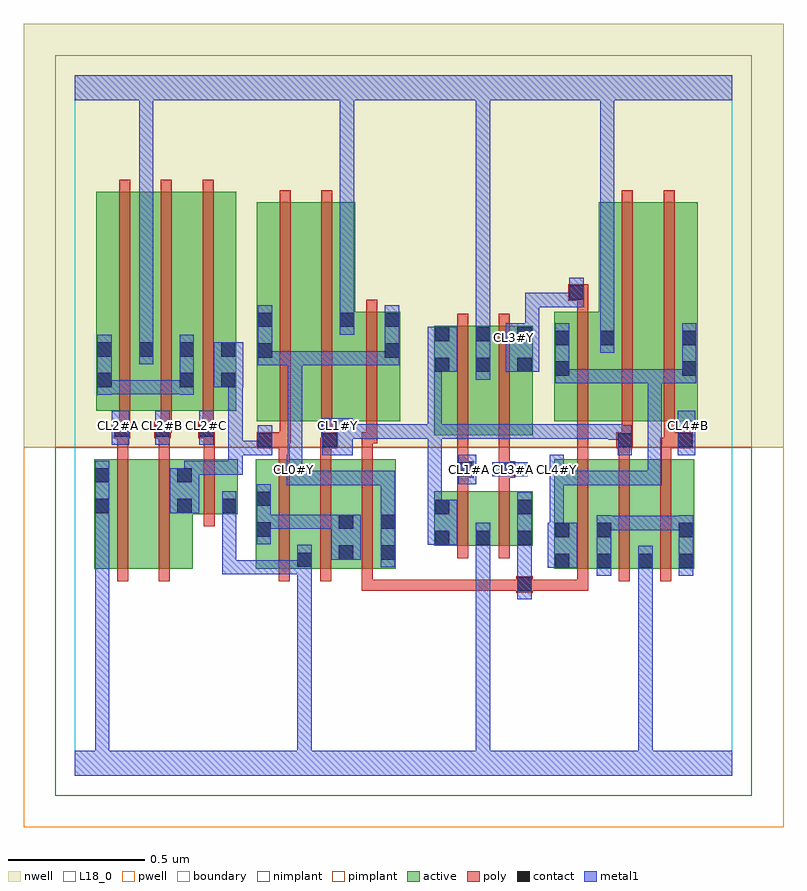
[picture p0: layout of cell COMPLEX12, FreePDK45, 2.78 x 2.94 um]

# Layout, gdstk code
import gdstk
lib = gdstk.Library(unit=1e-6, precision=1e-09)
def R(c, l, rs):  # rectangles x0, y0, x1, y1
    for r in rs: c.add(gdstk.rectangle(r[:2], r[2:], *l))
def A(c, l, x, y, w, h, nx, ny, dx, dy):  # array of equal rectangles
    R(c, l, [(x+i*dx, y+j*dy, x+i*dx+w, y+j*dy+h) for i in range(nx) for j in range(ny)])
active = (1, 0)
pwell = (2, 0)
nwell = (3, 0)
nimplant = (4, 0)
pimplant = (5, 0)
poly = (9, 0)
contact = (10, 0)
metal1 = (11, 0)
L18_0 = (18, 0)
boundary = (235, 0)

complex12 = lib.new_cell('COMPLEX12')
A(complex12, active, 0.808, 0.756, 0.06, 0.4, 3, 1, 0.152, 0)
A(complex12, active, 1.75, 0.756, 0.06, 0.4, 3, 1, 0.152, 0)
R(complex12, active, [(0.07,0.756,0.13,1.156), (0.07,0.756,0.25,1.156), (0.25,0.756,0.43,1.156), (0.37,0.756,0.43,1.156), (0.66,0.756,0.72,1.156), (0.66,0.756,0.868,1.156), (0.808,0.756,1.02,1.156), (0.96,0.756,1.172,1.156), (1.75,0.756,1.962,1.156), (1.902,0.756,2.114,1.156), (2.054,0.756,2.262,1.156), (2.202,0.756,2.262,1.156), (1.312,0.84,1.372,1.04), (1.312,0.84,1.52,1.04), (1.46,0.84,1.52,1.04), (1.46,0.84,1.672,1.04), (1.612,0.84,1.672,1.04), (0.37,0.956,0.594,1.156), (0.534,0.956,0.594,1.156), (1.312,1.244,1.372,1.644), (1.312,1.244,1.52,1.644), (1.46,1.244,1.672,1.644), (1.612,1.244,1.672,1.644), (0.664,1.296,0.844,2.096), (0.664,1.296,0.724,2.096), (0.844,1.296,1.024,2.096), (0.964,1.296,1.188,1.696), (1.128,1.296,1.188,1.696), (1.75,1.296,1.81,1.696), (1.75,1.296,1.974,1.696), (1.914,1.296,2.094,2.096), (2.094,1.296,2.274,2.096), (2.214,1.296,2.274,2.044), (0.964,1.31,1.024,2.096), (0.078,1.334,0.138,2.044), (0.078,1.334,0.29,2.134), (0.23,1.334,0.29,2.134), (0.23,1.334,0.438,2.134), (0.378,1.334,0.438,2.044), (0.378,1.334,0.59,2.134), (0.53,1.334,0.59,2.044), (1.46,1.366,1.52,1.644), (1.914,1.476,1.974,2.096)])
R(complex12, pwell, [(-0.188,-0.188,2.588,1.2)])
R(complex12, nwell, [(-0.188,1.2,2.588,2.748)])
R(complex12, nimplant, [(-0.072,-0.072,2.472,1.2)])
R(complex12, pimplant, [(-0.072,1.2,2.472,2.632)])
A(complex12, poly, 1.42, 0.676, 0.04, 0.04, 3, 1, 0.106, 0)
A(complex12, poly, 0.744, 0.712, 0.04, 0.488, 3, 1, 0.152, 0)
A(complex12, poly, 1.834, 0.712, 0.04, 0.488, 3, 1, 0.152, 0)
A(complex12, poly, 1.834, 1.16, 0.04, 0.076, 3, 1, 0.152, 0)
A(complex12, poly, 0.162, 1.254, 0.04, 0.076, 3, 1, 0.152, 0)
A(complex12, poly, 0.162, 1.29, 0.04, 0.888, 3, 1, 0.152, 0)
R(complex12, poly, [(1.612,0.67,1.672,0.73), (1.048,0.676,1.088,0.752), (1.048,0.676,1.088,0.716), (1.048,0.676,1.088,0.716), (1.048,0.676,1.088,0.716), (1.048,0.676,1.46,0.716), (1.42,0.676,1.46,0.716), (1.42,0.676,1.46,0.716), (1.42,0.676,1.566,0.716), (1.526,0.676,1.652,0.716), (1.632,0.676,1.672,0.716), (1.632,0.676,1.874,0.716), (1.834,0.676,1.874,0.752), (1.834,0.676,1.874,0.716), (1.834,0.676,1.874,0.716), (1.834,0.676,1.874,0.716), (0.154,0.712,0.194,1.2), (0.306,0.712,0.346,1.2), (1.396,0.796,1.436,1.084), (1.548,0.796,1.588,1.084), (0.47,0.912,0.51,1.2), (1.396,1.044,1.436,1.13), (1.548,1.044,1.588,1.13), (1.396,1.09,1.456,1.15), (1.548,1.09,1.608,1.15), (1.396,1.11,1.436,1.15), (1.396,1.11,1.436,1.15), (1.396,1.11,1.436,1.24), (1.548,1.11,1.588,1.15), (1.548,1.11,1.588,1.15), (1.548,1.11,1.588,1.24), (0.154,1.16,0.194,1.274), (0.306,1.16,0.346,1.274), (0.47,1.16,0.51,1.274), (0.744,1.16,0.784,1.236), (0.896,1.16,0.936,1.236), (1.048,1.16,1.088,1.256), (0.664,1.196,0.784,1.256), (0.896,1.196,0.94,1.236), (0.9,1.196,0.94,1.236), (0.9,1.196,0.96,1.256), (1.834,1.196,1.874,1.236), (1.834,1.196,1.874,1.236), (1.834,1.196,1.874,1.236), (1.834,1.196,1.874,1.292), (1.978,1.196,2.038,1.256), (1.986,1.196,2.026,1.236), (1.986,1.196,2.026,1.236), (2.138,1.196,2.19,1.236), (2.15,1.196,2.19,1.236), (2.15,1.196,2.258,1.256), (1.396,1.2,1.436,1.688), (1.548,1.2,1.588,1.688), (0.744,1.216,0.784,1.256), (0.744,1.216,0.788,1.256), (0.748,1.216,0.788,1.292), (0.9,1.216,0.94,1.292), (1.048,1.216,1.088,1.256), (1.048,1.216,1.088,1.256), (1.048,1.216,1.104,1.256), (1.064,1.216,1.104,1.292), (1.998,1.216,2.038,1.292), (2.15,1.216,2.19,1.292), (0.142,1.234,0.202,1.294), (0.154,1.234,0.194,1.274), (0.154,1.234,0.194,1.274), (0.29,1.234,0.35,1.294), (0.45,1.234,0.51,1.294), (0.47,1.234,0.51,1.274), (0.47,1.234,0.51,1.274), (0.748,1.252,0.788,2.14), (0.9,1.252,0.94,2.14), (1.064,1.252,1.104,1.74), (1.834,1.252,1.874,1.74), (1.998,1.252,2.038,2.14), (2.15,1.252,2.19,2.14), (0.31,1.254,0.35,1.294), (0.31,1.254,0.354,1.294), (1.834,1.7,1.874,1.776), (1.802,1.736,1.874,1.796)])
A(complex12, contact, 1.754, 0.76, 0.052, 0.052, 3, 1, 0.152, 0)
R(complex12, contact, [(1.616,0.674,1.668,0.726), (2.206,0.76,2.258,0.812), (0.812,0.764,0.864,0.816), (0.964,0.79,1.016,0.842), (1.116,0.79,1.168,0.842), (1.316,0.844,1.368,0.896), (1.464,0.844,1.516,0.896), (1.616,0.844,1.668,0.896), (1.754,0.872,1.806,0.924), (1.906,0.872,1.958,0.924), (2.206,0.872,2.258,0.924), (0.664,0.874,0.716,0.926), (0.964,0.902,1.016,0.954), (1.116,0.902,1.168,0.954), (1.316,0.956,1.368,1.008), (1.616,0.956,1.668,1.008), (0.074,0.96,0.126,1.012), (0.374,0.96,0.426,1.012), (0.538,0.96,0.59,1.012), (0.664,0.986,0.716,1.038), (0.074,1.072,0.126,1.124), (0.374,1.072,0.426,1.124), (1.4,1.094,1.452,1.146), (1.552,1.094,1.604,1.146), (0.668,1.2,0.72,1.252), (0.904,1.2,0.956,1.252), (1.982,1.2,2.034,1.252), (2.202,1.2,2.254,1.252), (0.146,1.238,0.198,1.29), (0.294,1.238,0.346,1.29), (0.454,1.238,0.506,1.29), (0.082,1.42,0.134,1.472), (0.382,1.42,0.434,1.472), (0.534,1.42,0.586,1.472), (1.754,1.462,1.806,1.514), (2.218,1.462,2.27,1.514), (1.316,1.476,1.368,1.528), (1.464,1.476,1.516,1.528), (1.616,1.476,1.668,1.528), (0.668,1.528,0.72,1.58), (1.132,1.528,1.184,1.58), (0.082,1.532,0.134,1.584), (0.234,1.532,0.286,1.584), (0.382,1.532,0.434,1.584), (0.534,1.532,0.586,1.584), (1.754,1.574,1.806,1.626), (1.918,1.574,1.97,1.626), (2.218,1.574,2.27,1.626), (1.316,1.588,1.368,1.64), (1.464,1.588,1.516,1.64), (1.616,1.588,1.668,1.64), (0.668,1.64,0.72,1.692), (0.968,1.64,1.02,1.692), (1.132,1.64,1.184,1.692), (1.806,1.74,1.858,1.792)])
R(complex12, metal1, [(0,0,2.4,0.092), (0.074,0.04,0.126,0.092), (0.074,0.04,0.126,0.092), (0.074,0.04,0.126,0.092), (0.074,0.04,0.126,0.092), (0.074,0.04,0.126,0.092), (0.074,0.04,0.126,0.092), (0.074,0.04,0.126,0.092), (0.074,0.04,0.126,0.092), (0.074,0.04,0.126,0.984), (0.812,0.04,0.864,0.092), (0.812,0.04,0.864,0.092), (0.812,0.04,0.864,0.092), (0.812,0.04,0.864,0.092), (0.812,0.04,0.864,0.092), (0.812,0.04,0.864,0.092), (0.812,0.04,0.864,0.092), (0.812,0.04,0.864,0.092), (0.812,0.04,0.864,0.092), (0.812,0.04,0.864,0.092), (0.812,0.04,0.864,0.788), (1.464,0.04,1.516,0.092), (1.464,0.04,1.516,0.092), (1.464,0.04,1.516,0.092), (1.464,0.04,1.516,0.092), (1.464,0.04,1.516,0.092), (1.464,0.04,1.516,0.092), (1.464,0.04,1.516,0.092), (1.464,0.04,1.516,0.092), (1.464,0.04,1.516,0.092), (1.464,0.04,1.516,0.092), (1.464,0.04,1.516,0.868), (2.058,0.04,2.11,0.092), (2.058,0.04,2.11,0.092), (2.058,0.04,2.11,0.092), (2.058,0.04,2.11,0.092), (2.058,0.04,2.11,0.092), (2.058,0.04,2.11,0.092), (2.058,0.04,2.11,0.092), (2.058,0.04,2.11,0.092), (2.058,0.04,2.11,0.092), (2.058,0.04,2.11,0.092), (2.058,0.04,2.11,0.784), (1.616,0.646,1.668,0.754), (1.616,0.702,1.668,0.754), (1.616,0.702,1.668,0.754), (1.616,0.702,1.668,0.754), (1.616,0.702,1.668,0.754), (1.616,0.702,1.668,0.868), (1.906,0.732,1.958,0.952), (2.058,0.732,2.11,0.784), (2.058,0.732,2.11,0.784), (2.058,0.732,2.11,0.84), (2.206,0.732,2.258,0.952), (0.538,0.736,0.59,0.788), (0.538,0.736,0.616,0.788), (0.538,0.736,0.59,0.984), (0.564,0.736,0.616,0.788), (0.564,0.736,0.724,0.788), (0.672,0.736,0.724,0.788), (0.672,0.736,0.864,0.788), (0.812,0.736,0.864,0.788), (0.812,0.736,0.864,0.788), (0.812,0.736,0.864,0.844), (1.726,0.76,1.834,0.924), (1.116,0.762,1.168,0.982), (0.936,0.79,1.044,0.954), (1.464,0.816,1.516,0.868), (1.464,0.816,1.516,0.868), (1.464,0.816,1.516,0.868), (1.464,0.816,1.516,0.868), (1.464,0.816,1.516,0.868), (1.464,0.816,1.516,0.868), (1.464,0.816,1.516,0.924), (1.616,0.816,1.668,0.868), (1.616,0.816,1.668,0.868), (1.616,0.816,1.668,1.036), (1.288,0.844,1.396,1.008), (0.664,0.846,0.716,1.066), (1.734,0.872,1.786,1.114), (1.906,0.898,1.958,0.95), (1.906,0.898,1.958,0.95), (1.906,0.898,2.148,0.95), (2.096,0.898,2.148,0.95), (2.096,0.898,2.258,0.95), (2.206,0.898,2.258,0.95), (2.206,0.898,2.258,0.95), (0.664,0.902,0.846,0.954), (0.794,0.902,0.846,0.954), (0.794,0.902,0.846,0.954), (0.794,0.902,0.846,0.954), (0.794,0.902,0.988,0.954), (0.936,0.902,0.988,0.954), (0.936,0.902,0.988,0.954), (1.116,0.93,1.168,1.114), (0.074,0.932,0.126,0.984), (0.074,0.932,0.126,0.984), (0.074,0.932,0.126,0.984), (0.074,0.932,0.126,0.984), (0.074,0.932,0.126,1.152), (0.538,0.932,0.59,0.984), (0.538,0.932,0.59,0.984), (0.538,0.932,0.59,1.04), (1.288,0.956,1.34,1.008), (1.288,0.956,1.34,1.008), (1.288,0.956,1.34,1.284), (0.346,0.96,0.454,1.124), (0.774,1.062,0.83,1.174), (0.778,1.062,1.044,1.114), (0.992,1.062,1.044,1.114), (0.992,1.062,1.044,1.114), (0.992,1.062,1.044,1.114), (0.992,1.062,1.168,1.114), (1.116,1.062,1.168,1.114), (1.116,1.062,1.168,1.114), (1.116,1.062,1.168,1.114), (1.734,1.062,1.848,1.114), (1.734,1.062,1.786,1.174), (1.796,1.062,1.848,1.114), (1.796,1.062,2,1.114), (1.948,1.062,2,1.114), (1.948,1.062,2.144,1.114), (2.092,1.062,2.144,1.114), (2.092,1.062,2.144,1.114), (2.092,1.062,2.144,1.114), (2.092,1.062,2.144,1.486), (1.4,1.066,1.466,1.174), (0.4,1.072,0.452,1.152), (1.524,1.094,1.654,1.146), (0.4,1.1,0.452,1.152), (0.4,1.1,0.456,1.152), (0.404,1.1,0.456,1.152), (0.404,1.1,0.612,1.152), (0.56,1.1,0.612,1.224), (0.778,1.122,0.83,1.552), (0.56,1.172,0.612,1.224), (0.56,1.172,0.612,1.224), (0.56,1.172,0.616,1.224), (0.56,1.172,0.612,1.472), (0.564,1.172,0.616,1.224), (0.564,1.172,0.72,1.224), (0.668,1.172,0.72,1.28), (0.904,1.172,1.014,1.306), (1.982,1.172,2.034,1.28), (2.202,1.172,2.266,1.334), (0.134,1.21,0.198,1.334), (0.294,1.21,0.346,1.334), (0.454,1.21,0.506,1.334), (1.948,1.228,2.034,1.28), (1.948,1.228,2,1.284), (0.962,1.232,1.014,1.284), (0.962,1.232,1.014,1.284), (0.962,1.232,1.154,1.284), (1.102,1.232,1.154,1.284), (1.102,1.232,1.154,1.284), (1.102,1.232,1.154,1.284), (1.102,1.232,1.34,1.284), (1.288,1.232,1.34,1.284), (1.288,1.232,1.34,1.284), (1.288,1.232,1.34,1.284), (1.288,1.232,1.516,1.284), (1.288,1.232,1.34,1.528), (1.464,1.232,1.516,1.284), (1.464,1.232,1.626,1.284), (1.574,1.232,1.626,1.284), (1.574,1.232,1.626,1.284), (1.574,1.232,1.626,1.284), (1.574,1.232,1.848,1.284), (1.796,1.232,1.848,1.284), (1.796,1.232,1.848,1.284), (1.796,1.232,1.848,1.284), (1.796,1.232,2,1.284), (0.082,1.392,0.134,1.612), (0.382,1.392,0.434,1.612), (0.082,1.394,0.134,1.446), (0.082,1.394,0.134,1.446), (0.082,1.394,0.288,1.446), (0.236,1.394,0.288,1.446), (0.236,1.394,0.288,1.446), (0.236,1.394,0.288,1.446), (0.236,1.394,0.434,1.446), (0.506,1.42,0.614,1.584), (1.754,1.434,1.806,1.486), (1.754,1.434,1.806,1.486), (1.754,1.434,1.806,1.654), (1.754,1.434,2,1.486), (1.948,1.434,2,1.486), (1.948,1.434,2,1.486), (1.948,1.434,2,1.486), (1.948,1.434,2.144,1.486), (2.092,1.434,2.144,1.486), (2.092,1.434,2.144,1.486), (2.092,1.434,2.144,1.486), (2.092,1.434,2.27,1.486), (2.218,1.434,2.27,1.486), (2.218,1.434,2.27,1.486), (2.218,1.434,2.27,1.654), (1.464,1.448,1.516,1.668), (1.288,1.476,1.396,1.64), (1.574,1.476,1.696,1.654), (0.668,1.5,0.72,1.72), (0.668,1.5,0.83,1.552), (0.778,1.5,0.83,1.552), (0.778,1.5,0.83,1.552), (0.778,1.5,0.83,1.552), (0.778,1.5,0.83,1.552), (0.778,1.5,0.83,1.552), (0.778,1.5,0.956,1.552), (0.904,1.5,0.956,1.552), (0.904,1.5,0.956,1.552), (0.904,1.5,0.956,1.552), (0.904,1.5,1.184,1.552), (1.132,1.5,1.184,1.552), (1.132,1.5,1.184,1.552), (1.132,1.5,1.184,1.72), (0.234,1.504,0.286,1.612), (1.918,1.546,1.97,1.654), (0.234,1.56,0.286,1.612), (0.234,1.56,0.286,1.612), (0.234,1.56,0.286,1.612), (0.234,1.56,0.286,1.612), (0.234,1.56,0.286,2.52), (1.644,1.602,1.696,1.764), (1.918,1.602,1.97,2.52), (0.968,1.612,1.02,1.72), (1.464,1.616,1.516,1.668), (1.464,1.616,1.516,1.668), (1.464,1.616,1.516,1.668), (1.464,1.616,1.516,1.668), (1.464,1.616,1.516,2.52), (0.968,1.668,1.02,1.72), (0.968,1.668,1.02,1.72), (0.968,1.668,1.02,1.72), (0.968,1.668,1.02,1.72), (0.968,1.668,1.02,1.72), (0.968,1.668,1.02,1.72), (0.968,1.668,1.02,2.52), (1.644,1.712,1.696,1.764), (1.644,1.712,1.78,1.764), (1.728,1.712,1.78,1.764), (1.728,1.712,1.858,1.764), (1.806,1.712,1.858,1.82), (0,2.468,2.4,2.56), (0.234,2.468,0.286,2.52), (0.234,2.468,0.286,2.52), (0.234,2.468,0.286,2.52), (0.234,2.468,0.286,2.52), (0.968,2.468,1.02,2.52), (0.968,2.468,1.02,2.52), (1.464,2.468,1.516,2.52), (1.464,2.468,1.516,2.52), (1.464,2.468,1.516,2.52), (1.464,2.468,1.516,2.52), (1.464,2.468,1.516,2.52), (1.464,2.468,1.516,2.52), (1.464,2.468,1.516,2.52), (1.464,2.468,1.516,2.52), (1.464,2.468,1.516,2.52), (1.464,2.468,1.516,2.52), (1.464,2.468,1.516,2.52), (1.464,2.468,1.516,2.52), (1.918,2.468,1.97,2.52), (1.918,2.468,1.97,2.52), (1.918,2.468,1.97,2.52), (1.918,2.468,1.97,2.52), (1.918,2.468,1.97,2.52), (1.918,2.468,1.97,2.52), (1.918,2.468,1.97,2.52), (1.918,2.468,1.97,2.52)])
A(complex12, L18_0, 1.414, 1.094, 0.052, 0.052, 3, 1, 0.16, 0)
A(complex12, L18_0, 0.134, 1.254, 0.052, 0.052, 3, 1, 0.16, 0)
R(complex12, L18_0, [(0,0,2.4,0.092), (0.074,0.04,0.126,0.092), (0.074,0.04,0.126,0.092), (0.074,0.04,0.126,0.092), (0.074,0.04,0.126,0.092), (0.074,0.04,0.126,0.092), (0.074,0.04,0.126,0.092), (0.074,0.04,0.126,0.092), (0.074,0.04,0.126,0.092), (0.074,0.04,0.126,0.984), (0.812,0.04,0.864,0.092), (0.812,0.04,0.864,0.092), (0.812,0.04,0.864,0.092), (0.812,0.04,0.864,0.092), (0.812,0.04,0.864,0.092), (0.812,0.04,0.864,0.092), (0.812,0.04,0.864,0.092), (0.812,0.04,0.864,0.092), (0.812,0.04,0.864,0.092), (0.812,0.04,0.864,0.092), (0.812,0.04,0.864,0.788), (1.464,0.04,1.516,0.092), (1.464,0.04,1.516,0.092), (1.464,0.04,1.516,0.092), (1.464,0.04,1.516,0.092), (1.464,0.04,1.516,0.092), (1.464,0.04,1.516,0.092), (1.464,0.04,1.516,0.092), (1.464,0.04,1.516,0.092), (1.464,0.04,1.516,0.092), (1.464,0.04,1.516,0.092), (1.464,0.04,1.516,0.868), (2.058,0.04,2.11,0.092), (2.058,0.04,2.11,0.092), (2.058,0.04,2.11,0.092), (2.058,0.04,2.11,0.092), (2.058,0.04,2.11,0.092), (2.058,0.04,2.11,0.092), (2.058,0.04,2.11,0.092), (2.058,0.04,2.11,0.092), (2.058,0.04,2.11,0.092), (2.058,0.04,2.11,0.092), (2.058,0.04,2.11,0.784), (1.616,0.646,1.668,0.754), (1.616,0.702,1.668,0.754), (1.616,0.702,1.668,0.754), (1.616,0.702,1.668,0.754), (1.616,0.702,1.668,0.754), (1.616,0.702,1.668,0.868), (2.058,0.732,2.11,0.784), (2.058,0.732,2.11,0.784), (2.058,0.732,2.11,0.84), (0.538,0.736,0.59,0.788), (0.538,0.736,0.59,0.984), (0.538,0.736,0.616,0.788), (0.564,0.736,0.616,0.788), (0.564,0.736,0.724,0.788), (0.672,0.736,0.724,0.788), (0.672,0.736,0.864,0.788), (0.812,0.736,0.864,0.788), (0.812,0.736,0.864,0.788), (0.812,0.736,0.864,0.844), (1.726,0.76,1.834,0.924), (1.116,0.762,1.168,0.982), (1.464,0.816,1.516,0.868), (1.464,0.816,1.516,0.868), (1.464,0.816,1.516,0.868), (1.464,0.816,1.516,0.868), (1.464,0.816,1.516,0.868), (1.464,0.816,1.516,0.868), (1.464,0.816,1.516,0.924), (1.616,0.816,1.668,0.868), (1.616,0.816,1.668,0.868), (1.616,0.816,1.668,1.036), (1.288,0.844,1.396,1.008), (1.734,0.872,1.786,1.114), (1.116,0.93,1.168,1.114), (0.074,0.932,0.126,0.984), (0.074,0.932,0.126,0.984), (0.074,0.932,0.126,0.984), (0.074,0.932,0.126,0.984), (0.074,0.932,0.126,1.152), (0.538,0.932,0.59,0.984), (0.538,0.932,0.59,0.984), (0.538,0.932,0.59,1.04), (1.288,0.956,1.34,1.008), (1.288,0.956,1.34,1.008), (1.288,0.956,1.34,1.284), (0.774,1.062,0.83,1.174), (0.778,1.062,1.044,1.114), (0.992,1.062,1.044,1.114), (0.992,1.062,1.044,1.114), (0.992,1.062,1.044,1.114), (0.992,1.062,1.168,1.114), (1.116,1.062,1.168,1.114), (1.116,1.062,1.168,1.114), (1.116,1.062,1.168,1.114), (1.734,1.062,1.786,1.174), (1.734,1.062,1.848,1.114), (1.796,1.062,1.848,1.114), (1.796,1.062,2,1.114), (1.948,1.062,2,1.114), (1.948,1.062,2.144,1.114), (2.092,1.062,2.144,1.114), (2.092,1.062,2.144,1.114), (2.092,1.062,2.144,1.114), (2.092,1.062,2.144,1.486), (1.4,1.066,1.466,1.174), (0.774,1.094,0.826,1.146), (1.524,1.094,1.654,1.146), (0.778,1.122,0.83,1.552), (0.904,1.172,1.014,1.306), (1.982,1.172,2.034,1.28), (2.202,1.172,2.266,1.334), (0.134,1.21,0.198,1.334), (0.294,1.21,0.346,1.334), (0.454,1.21,0.506,1.334), (1.948,1.228,2,1.284), (1.948,1.228,2.034,1.28), (0.962,1.232,1.014,1.284), (0.962,1.232,1.014,1.284), (0.962,1.232,1.154,1.284), (1.102,1.232,1.154,1.284), (1.102,1.232,1.154,1.284), (1.102,1.232,1.154,1.284), (1.102,1.232,1.34,1.284), (1.288,1.232,1.34,1.284), (1.288,1.232,1.34,1.284), (1.288,1.232,1.34,1.284), (1.288,1.232,1.34,1.528), (1.288,1.232,1.516,1.284), (1.464,1.232,1.516,1.284), (1.464,1.232,1.626,1.284), (1.574,1.232,1.626,1.284), (1.574,1.232,1.626,1.284), (1.574,1.232,1.626,1.284), (1.574,1.232,1.848,1.284), (1.796,1.232,1.848,1.284), (1.796,1.232,1.848,1.284), (1.796,1.232,1.848,1.284), (1.796,1.232,2,1.284), (0.934,1.254,0.986,1.306), (2.214,1.254,2.266,1.306), (1.754,1.434,1.806,1.486), (1.754,1.434,1.806,1.486), (1.754,1.434,1.806,1.654), (1.754,1.434,2,1.486), (1.948,1.434,2,1.486), (1.948,1.434,2,1.486), (1.948,1.434,2,1.486), (1.948,1.434,2.144,1.486), (2.092,1.434,2.144,1.486), (2.092,1.434,2.144,1.486), (2.092,1.434,2.144,1.486), (2.092,1.434,2.27,1.486), (2.218,1.434,2.27,1.486), (2.218,1.434,2.27,1.486), (2.218,1.434,2.27,1.654), (1.464,1.448,1.516,1.668), (1.288,1.476,1.396,1.64), (1.574,1.476,1.696,1.654), (0.668,1.5,0.72,1.72), (0.668,1.5,0.83,1.552), (0.778,1.5,0.83,1.552), (0.778,1.5,0.83,1.552), (0.778,1.5,0.83,1.552), (0.778,1.5,0.83,1.552), (0.778,1.5,0.83,1.552), (0.778,1.5,0.956,1.552), (0.904,1.5,0.956,1.552), (0.904,1.5,0.956,1.552), (0.904,1.5,0.956,1.552), (0.904,1.5,1.184,1.552), (1.132,1.5,1.184,1.552), (1.132,1.5,1.184,1.552), (1.132,1.5,1.184,1.72), (0.234,1.504,0.286,1.612), (1.918,1.546,1.97,1.654), (0.234,1.56,0.286,1.612), (0.234,1.56,0.286,1.612), (0.234,1.56,0.286,1.612), (0.234,1.56,0.286,1.612), (0.234,1.56,0.286,2.52), (1.574,1.574,1.626,1.626), (1.644,1.602,1.696,1.764), (1.918,1.602,1.97,2.52), (0.968,1.612,1.02,1.72), (1.464,1.616,1.516,1.668), (1.464,1.616,1.516,1.668), (1.464,1.616,1.516,1.668), (1.464,1.616,1.516,1.668), (1.464,1.616,1.516,2.52), (0.968,1.668,1.02,1.72), (0.968,1.668,1.02,1.72), (0.968,1.668,1.02,1.72), (0.968,1.668,1.02,1.72), (0.968,1.668,1.02,1.72), (0.968,1.668,1.02,1.72), (0.968,1.668,1.02,2.52), (1.644,1.712,1.696,1.764), (1.644,1.712,1.78,1.764), (1.728,1.712,1.78,1.764), (1.728,1.712,1.858,1.764), (1.806,1.712,1.858,1.82), (0,2.468,2.4,2.56), (0.234,2.468,0.286,2.52), (0.234,2.468,0.286,2.52), (0.234,2.468,0.286,2.52), (0.234,2.468,0.286,2.52), (0.968,2.468,1.02,2.52), (0.968,2.468,1.02,2.52), (1.464,2.468,1.516,2.52), (1.464,2.468,1.516,2.52), (1.464,2.468,1.516,2.52), (1.464,2.468,1.516,2.52), (1.464,2.468,1.516,2.52), (1.464,2.468,1.516,2.52), (1.464,2.468,1.516,2.52), (1.464,2.468,1.516,2.52), (1.464,2.468,1.516,2.52), (1.464,2.468,1.516,2.52), (1.464,2.468,1.516,2.52), (1.464,2.468,1.516,2.52), (1.918,2.468,1.97,2.52), (1.918,2.468,1.97,2.52), (1.918,2.468,1.97,2.52), (1.918,2.468,1.97,2.52), (1.918,2.468,1.97,2.52), (1.918,2.468,1.97,2.52), (1.918,2.468,1.97,2.52), (1.918,2.468,1.97,2.52)])
R(complex12, boundary, [(0,0,2.4,2.56)])
complex12.add(gdstk.Label('CL0#Y', (0.8,1.12), layer=11, texttype=0))
complex12.add(gdstk.Label('CL1#A', (1.44,1.12), layer=11, texttype=0))
complex12.add(gdstk.Label('CL1#Y', (0.96,1.28), layer=11, texttype=0))
complex12.add(gdstk.Label('CL2#A', (0.16,1.28), layer=11, texttype=0))
complex12.add(gdstk.Label('CL2#B', (0.32,1.28), layer=11, texttype=0))
complex12.add(gdstk.Label('CL2#C', (0.48,1.28), layer=11, texttype=0))
complex12.add(gdstk.Label('CL3#A', (1.6,1.12), layer=11, texttype=0))
complex12.add(gdstk.Label('CL3#Y', (1.6,1.6), layer=11, texttype=0))
complex12.add(gdstk.Label('CL4#B', (2.24,1.28), layer=11, texttype=0))
complex12.add(gdstk.Label('CL4#Y', (1.76,1.12), layer=11, texttype=0))

lib.write_gds('COMPLEX12.gds')
